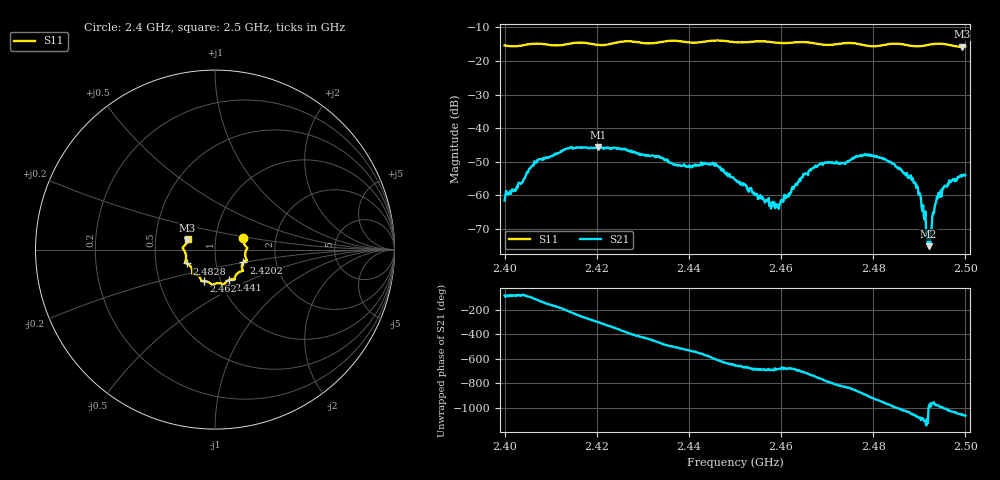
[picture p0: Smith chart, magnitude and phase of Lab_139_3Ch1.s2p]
# Hz S RI R 50
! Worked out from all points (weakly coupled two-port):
!   601 points, 2.4 GHz to 2.5 GHz, reference 50 ohm
!   highest |S21| = -45.54 dB at 2.4203 GHz (marker M1); lowest = -75.1 dB at 2.492 GHz (marker M2)
!   lowest |S11| = -15.8 dB at 2.4993 GHz (marker M3), VSWR 1.39, Z = 36.5 + j3.85 ohm
!   |S11| at or under -10 dB: start of sweep to end of sweep
!   S12 and S22 are empty: the file has one direction only
!   S11 on the Smith chart (normalised r, x): 2.4 GHz: 1.36, +0.18; 2.4202 GHz: 1.36, -0.20; 2.441 GHz: 1.10, -0.39; 2.462 GHz: 0.84, -0.30; 2.4828 GHz: 0.72, -0.11; 2.5 GHz: 0.73, +0.09
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2.4e9  0.1581 0.0626  9.88e-05 -0.000835  0 0  0 0
2.407e9  0.1808 0.00964  -0.00148 -0.00273  0 0  0 0
2.416667e9  0.1776 -0.0604  -0.00137 0.00502  0 0  0 0
2.420167e9  0.1583 -0.0714  0.00238 0.00446  0 0  0 0
2.420333e9  0.157 -0.0726  0.0028 0.00448  0 0  0 0
2.433333e9  0.1121 -0.1512  -0.00108 -0.00365  0 0  0 0
2.441e9  0.0784 -0.1697  -0.00282 3.91e-05  0 0  0 0
2.4455e9  0.0515 -0.1942  -0.00147 0.00257  0 0  0 0
2.45e9  0.0284 -0.1876  0.000771 0.00152  0 0  0 0
2.458333e9  -0.0275 -0.187  0.000619 0.000349  0 0  0 0
2.462e9  -0.0604 -0.1758  0.000741 0.000765  0 0  0 0
2.466667e9  -0.0785 -0.1681  0.00244 -0.000541  0 0  0 0
2.477833e9  -0.1272 -0.1169  -0.00385 -0.000916  0 0  0 0
2.482833e9  -0.1574 -0.0771  -0.0013 0.00308  0 0  0 0
2.483333e9  -0.1605 -0.0758  -0.000971 0.00308  0 0  0 0
2.489167e9  -0.1614 -0.0345  0.00147 0.000499  0 0  0 0
2.490833e9  -0.1673 -0.0134  0.00071 -8.7e-05  0 0  0 0
2.492e9  -0.1736 -0.0022  3.19e-05 0.000174  0 0  0 0
2.493333e9  -0.1793 0.00601  -0.000172 0.000654  0 0  0 0
2.494167e9  -0.1803 0.00944  -0.000134 0.00109  0 0  0 0
2.499333e9  -0.1538 0.0513  0.0018 0.000889  0 0  0 0
2.5e9  -0.1522 0.061  0.00193 0.000526  0 0  0 0
